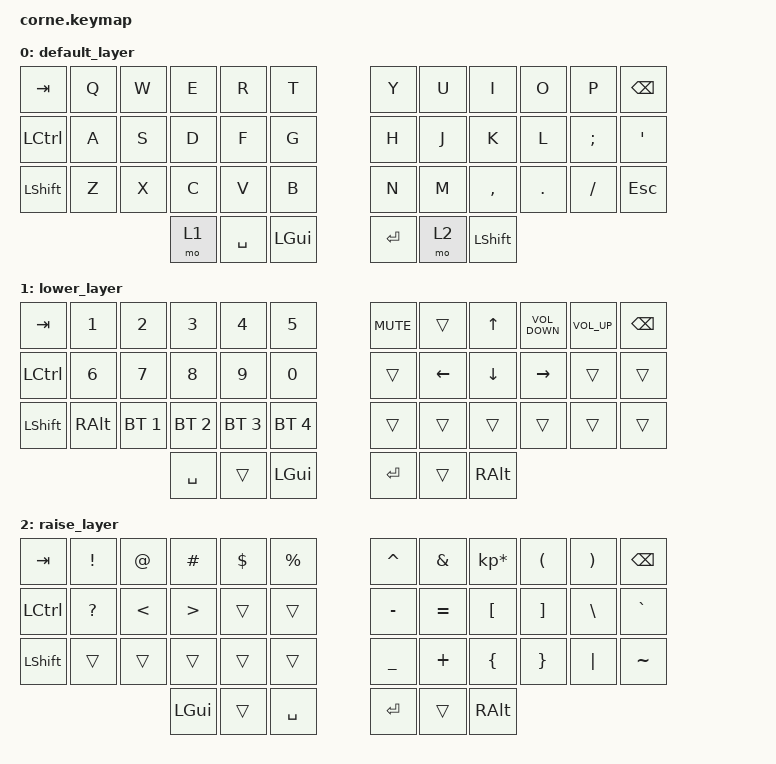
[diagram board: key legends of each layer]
/*
 * Copyright (c) 2020 The ZMK Contributors
 *
 * SPDX-License-Identifier: MIT
 */

#include <behaviors.dtsi>
#include <dt-bindings/zmk/bt.h>
#include <dt-bindings/zmk/keys.h>

/ {
    combos {
        compatible = "zmk,combos";

        select-end-of-line {
            bindings = <&kp LG(LS(RIGHT))>;
            key-positions = <38 3>;
            layers = <0>;
            timeout-ms = <500>;
        };

        select-beginning-of-line {
            bindings = <&kp LG(LS(LEFT_ARROW))>;
            key-positions = <38 2>;
            layers = <0>;
            timeout-ms = <500>;
        };

        switch-tabs-right {
            bindings = <&kp LG(RA(RIGHT))>;
            key-positions = <16 21>;
            timeout-ms = <500>;
            layers = <1>;
        };

        switch-tab-left {
            bindings = <&kp LG(RA(LEFT_ARROW))>;
            key-positions = <16 19>;
            timeout-ms = <500>;
            layers = <1>;
        };
    };

    keymap {
        compatible = "zmk,keymap";

        default_layer {
            // -----------------------------------------------------------------------------------------
            // |  TAB |  Q  |  W  |  E  |  R  |  T  |   |  Y  |  U   |  I  |  O  |  P  | BKSP |
            // | CTRL |  A  |  S  |  D  |  F  |  G  |   |  H  |  J   |  K  |  L  |  ;  |  '   |
            // | SHFT |  Z  |  X  |  C  |  V  |  B  |   |  N  |  M   |  ,  |  .  |  /  | ESC  |
            //                    | LWR | SPC | GUI |   | ENT | RSE  | SHFT|

            bindings = <
&kp TAB    &kp Q  &kp W  &kp E  &kp R      &kp T       &kp Y    &kp U  &kp I      &kp O    &kp P     &kp BSPC
&kp LCTRL  &kp A  &kp S  &kp D  &kp F      &kp G       &kp H    &kp J  &kp K      &kp L    &kp SEMI  &kp SQT
&kp LSHFT  &kp Z  &kp X  &kp C  &kp V      &kp B       &kp N    &kp M  &kp COMMA  &kp DOT  &kp FSLH  &kp ESC
                         &mo 1  &kp SPACE  &kp LGUI    &kp RET  &mo 2  &kp LSHFT
            >;
        };

        lower_layer {
            // -----------------------------------------------------------------------------------------
            // |  TAB |  1  |  2  |  3  |  4  |  5  |   | MUTE|     | UP  |VLDN |VLUP | BKSP |
            // | CTRL |  6  |  7  |  8  |  9  |  0  |   |     | LFT | DWN | RGT |     |      |
            // | SHFT | ALT | BT2 | BT3 | BT4 | BT5 |   |     |     |     |     |     |      |
            //                    | GUI |     | GUI |   | ENT |     | ALT |

            bindings = <
&kp TAB    &kp N1    &kp N2        &kp N3        &kp N4        &kp N5          &kp C_MUTE  &trans    &kp UP    &kp C_VOLUME_DOWN  &kp C_VOLUME_UP  &kp BSPC
&kp LCTRL  &kp N6    &kp N7        &kp N8        &kp N9        &kp N0          &trans      &kp LEFT  &kp DOWN  &kp RIGHT          &trans           &trans
&kp LSHFT  &kp RALT  &bt BT_SEL 1  &bt BT_SEL 2  &bt BT_SEL 3  &bt BT_SEL 4    &trans      &trans    &trans    &trans             &trans           &trans
                                   &kp SPACE     &trans        &kp LGUI        &kp RET     &trans    &kp RALT
            >;
        };

        raise_layer {
            // -----------------------------------------------------------------------------------------
            // |  TAB |  !  |  @  |  #  |  $  |  %  |   |  ^  |  &  |  *  |  (  |  )  | BKSP |
            // | CTRL |  ?  |  <  |  >  |     |     |   |  -  |  =  |  [  |  ]  |  \  |  `   |
            // | SHFT |     |     |     |     |     |   |  _  |  +  |  {  |  }  | "|" |  ~   |
            //                    | GUI |     | SPC |   | ENT |     | ALT |

            bindings = <
&kp TAB    &kp EXCL      &kp AT         &kp HASH          &kp DLLR  &kp PRCNT    &kp CARET  &kp AMPS   &kp KP_MULTIPLY  &kp LPAR  &kp RPAR  &kp BSPC
&kp LCTRL  &kp QUESTION  &kp LESS_THAN  &kp GREATER_THAN  &trans    &trans       &kp MINUS  &kp EQUAL  &kp LBKT         &kp RBKT  &kp BSLH  &kp GRAVE
&kp LSHFT  &trans        &trans         &trans            &trans    &trans       &kp UNDER  &kp PLUS   &kp LBRC         &kp RBRC  &kp PIPE  &kp TILDE
                                        &kp LGUI          &trans    &kp SPACE    &kp RET    &trans     &kp RALT
            >;
        };
    };
};
